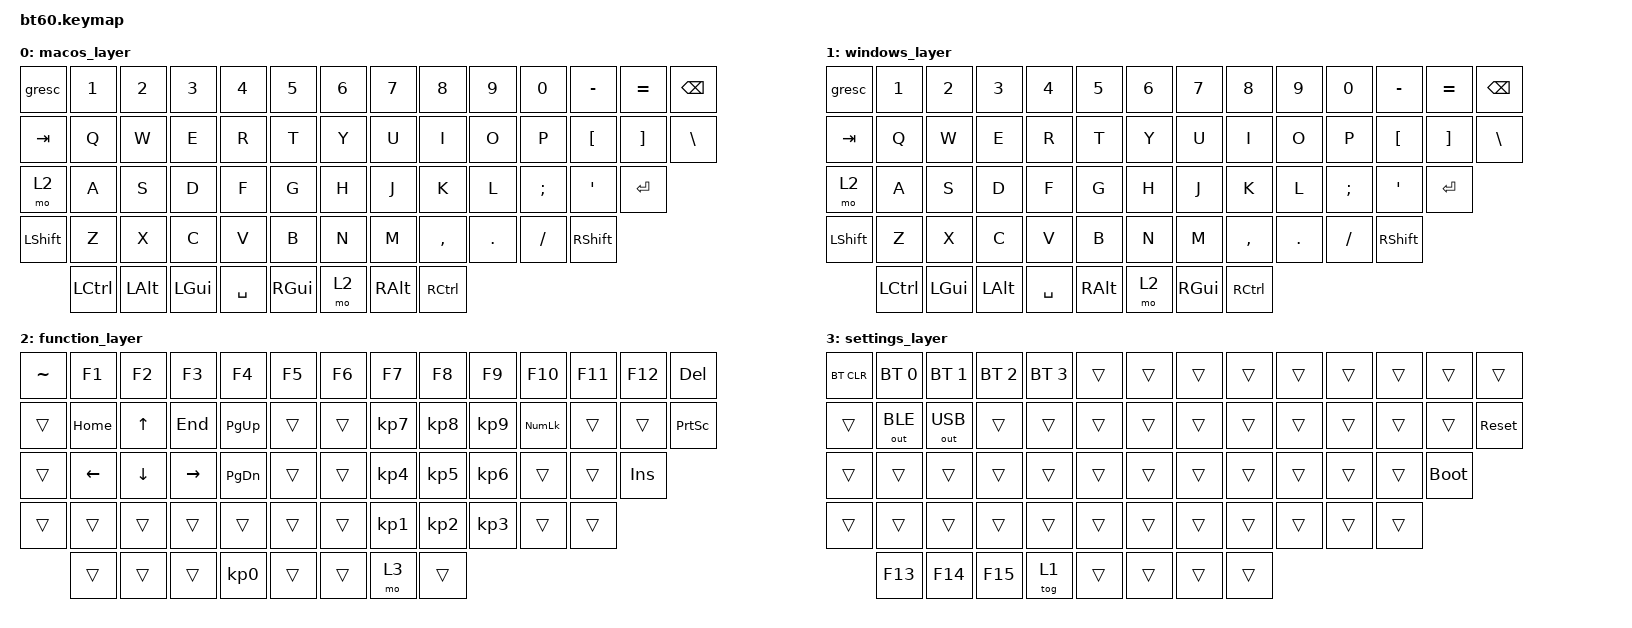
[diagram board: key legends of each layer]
#include <dt-bindings/zmk/reset.h>
#include <behaviors.dtsi>
#include <dt-bindings/zmk/bt.h>
#include <dt-bindings/zmk/keys.h>
#include <dt-bindings/zmk/outputs.h>

/ {
    combos {
        compatible = "zmk,combos";

        combo_cmd_tilde {
            bindings = <&kp LG(TILDE)>;
            key-positions = <55 0>;
        };
    };

    keymap {
        compatible = "zmk,keymap";

        macos_layer {
            // ------------------------------------------------------------------------------------------
            // | ESC |  1  |  2  |  3  |  4  |  5  |  6  |  7  |  8  |  9  |  0  |  -  |  =  |   BKSP   |
            // | TAB  |  Q  |  W  |  E  |  R  |  T  |  Y  |  U  |  I  |  O  |  P  |  [  |  ]  |   "|"   |
            // | TOG(1) |  A  |  S  |  D  |  F  |  G  |  H  |  J  |  K  |  L  |  ;  |  '  |    ENTER    |
            // |  SHIFT  |  Z  |  X  |  C  |  V  |  B  |  N  |  M  |  ,  |  .  |  /  |      SHIFT       |
            // |  CTL  |  ALT  |  WIN  |            SPACE              |  WIN  |   MO(1) | ALT  |  CTL  |
            // ------------------------------------------------------------------------------------------

            bindings = <
&gresc     &kp N1     &kp N2    &kp N3    &kp N4     &kp N5    &kp N6  &kp N7    &kp N8     &kp N9   &kp N0    &kp MINUS  &kp EQUAL  &kp BSPC
&kp TAB    &kp Q      &kp W     &kp E     &kp R      &kp T     &kp Y   &kp U     &kp I      &kp O    &kp P     &kp LBKT   &kp RBKT   &kp BSLH
&mo 2      &kp A      &kp S     &kp D     &kp F      &kp G     &kp H   &kp J     &kp K      &kp L    &kp SEMI  &kp SQT    &kp RET
&kp LSHFT  &kp Z      &kp X     &kp C     &kp V      &kp B     &kp N   &kp M     &kp COMMA  &kp DOT  &kp FSLH  &kp RSHFT
           &kp LCTRL  &kp LALT  &kp LGUI  &kp SPACE  &kp RGUI  &mo 2   &kp RALT  &kp RCTRL
            >;
        };

        windows_layer {
            bindings = <
&gresc     &kp N1     &kp N2        &kp N3        &kp N4     &kp N5         &kp N6  &kp N7         &kp N8     &kp N9   &kp N0    &kp MINUS  &kp EQUAL  &kp BSPC
&kp TAB    &kp Q      &kp W         &kp E         &kp R      &kp T          &kp Y   &kp U          &kp I      &kp O    &kp P     &kp LBKT   &kp RBKT   &kp BSLH
&mo 2      &kp A      &kp S         &kp D         &kp F      &kp G          &kp H   &kp J          &kp K      &kp L    &kp SEMI  &kp SQT    &kp RET
&kp LSHFT  &kp Z      &kp X         &kp C         &kp V      &kp B          &kp N   &kp M          &kp COMMA  &kp DOT  &kp FSLH  &kp RSHFT
           &kp LCTRL  &kp LEFT_GUI  &kp LEFT_ALT  &kp SPACE  &kp RIGHT_ALT  &mo 2   &kp RIGHT_GUI  &kp RCTRL
            >;
        };

        function_layer {
            // ------------------------------------------------------------------------------------------------
            // |   `    | F1  | F2  | F3  | F4  | F5  | F6  | F7  | F8  | F9  | F10  | F11 | F12 |      DEL   |
            // |         |   |  UP |    |      |       |       |       |  UP  |    |    |    |    |           |
            // |          | LT |  DN  | RT |       |       |     |  LT  |  DN   | RT |    |     |             |
            // |             |     |      |      |     |     |     |     |     |     |     |                  |
            // |         |      |      |                                    |        |     |  MO(2)   |       |
            // ------------------------------------------------------------------------------------------------

            bindings = <
&kp TILDE  &kp F1    &kp F2    &kp F3     &kp F4           &kp F5  &kp F6  &kp F7           &kp F8           &kp F9           &kp F10     &kp F11  &kp F12  &kp DEL
&trans     &kp HOME  &kp UP    &kp END    &kp PAGE_UP      &trans  &trans  &kp KP_NUMBER_7  &kp KP_NUMBER_8  &kp KP_NUMBER_9  &kp KP_NUM  &trans   &trans   &kp PSCRN
&trans     &kp LEFT  &kp DOWN  &kp RIGHT  &kp PAGE_DOWN    &trans  &trans  &kp KP_NUMBER_4  &kp KP_NUMBER_5  &kp KP_NUMBER_6  &trans      &trans   &kp INS
&trans     &trans    &trans    &trans     &trans           &trans  &trans  &kp KP_NUMBER_1  &kp KP_NUMBER_2  &kp KP_NUMBER_3  &trans      &trans
           &trans    &trans    &trans     &kp KP_NUMBER_0  &trans  &trans  &mo 3            &trans
            >;
        };

        settings_layer {
            //  ---------------------------------------------------------------------------------------------------------------------------------------------------------------------------------------
            //  | BT_CLR     | BT_0       | BT_1       | BT_2       | BT_3       |            |            |            |            |            |            | BOOTLOADER | RESET      |            |
            //  |            |            |            |            |            |            |            |            |            |            |            |            |            |            |
            //  |            |            |            |            |            |            |            |            |            |            |            |            |                         |
            //  |                         |            |            |            |            |            |            |            |            |            |            |                         |
            //  |            |            |            |                                                                                          |            |            |            |            |
            //  ---------------------------------------------------------------------------------------------------------------------------------------------------------------------------------------

            bindings = <
&bt BT_CLR  &bt BT_SEL 0  &bt BT_SEL 1  &bt BT_SEL 2  &bt BT_SEL 3  &trans  &trans  &trans  &trans  &trans  &trans  &trans  &trans       &trans
&trans      &out OUT_BLE  &out OUT_USB  &trans        &trans        &trans  &trans  &trans  &trans  &trans  &trans  &trans  &trans       &sys_reset
&trans      &trans        &trans        &trans        &trans        &trans  &trans  &trans  &trans  &trans  &trans  &trans  &bootloader
&trans      &trans        &trans        &trans        &trans        &trans  &trans  &trans  &trans  &trans  &trans  &trans
            &kp F13       &kp F14       &kp F15       &tog 1        &trans  &trans  &trans  &trans
            >;
        };
    };
};
